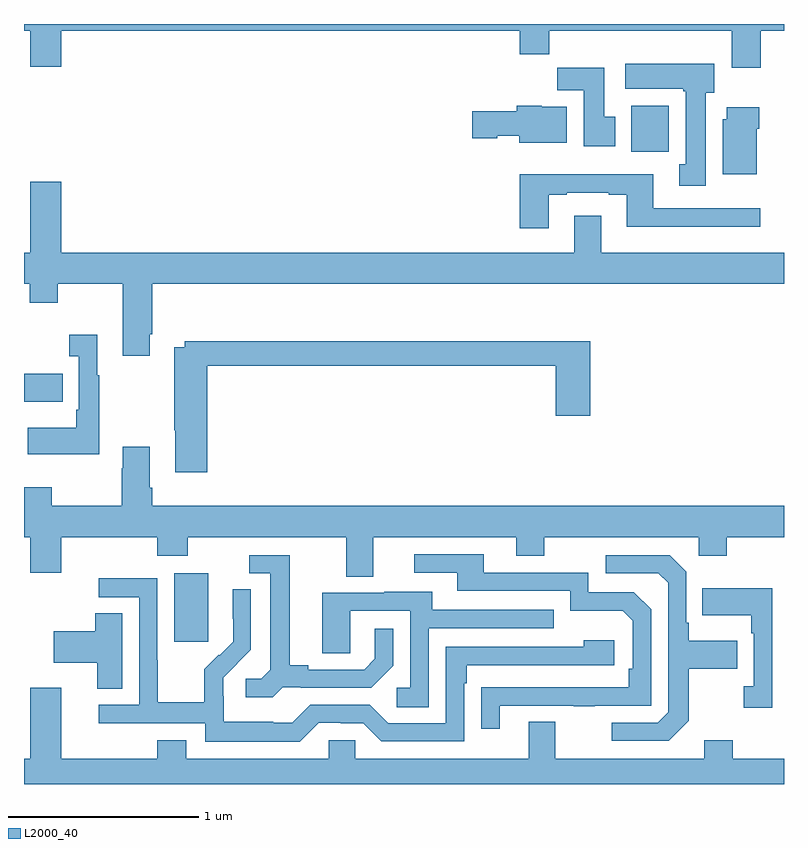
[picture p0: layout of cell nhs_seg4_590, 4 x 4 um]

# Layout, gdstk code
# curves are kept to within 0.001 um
import gdstk
lib = gdstk.Library(unit=1e-6, precision=1e-09)
def R(c, l, rs):  # rectangles x0, y0, x1, y1
    for r in rs: c.add(gdstk.rectangle(r[:2], r[2:], *l))
def P(c, l, *ps):  # polygons
    for p in ps: c.add(gdstk.Polygon(p, *l))
L2000_40 = (2000, 40)

nhs_seg4_590 = lib.new_cell('nhs_seg4_590')
R(nhs_seg4_590, L2000_40, [(141.791,749.649,141.97,750.01), (141,750.911,141.203,751.059), (144.197,752.228,144.394,752.47)])
P(nhs_seg4_590, L2000_40, [(144.878,752.864),(145,752.864),(145,752.9),(141,752.9),(141,752.864),(141.032,752.864),(141.032,752.676),(141.196,752.676),(141.196,752.864),(143.609,752.864),(143.609,752.74),(143.765,752.74),(143.765,752.864),(144.725,752.864),(144.725,752.67),(144.878,752.67)],
  [(144.589,752.538),(144.634,752.538),(144.634,752.692),(144.165,752.692),(144.165,752.558),(144.469,752.558),(144.469,752.545),(144.482,752.545),(144.482,752.162),(144.449,752.162),(144.449,752.049),(144.589,752.049)],
  [(144.112,752.412),(144.055,752.412),(144.055,752.671),(143.806,752.671),(143.806,752.552),(143.945,752.552),(143.945,752.256),(144.112,752.256)],
  [(143.857,752.464),(143.724,752.464),(143.724,752.47),(143.594,752.47),(143.594,752.442),(143.358,752.442),(143.358,752.3),(143.49,752.3),(143.49,752.312),(143.606,752.312),(143.606,752.276),(143.857,752.276)],
  [(144.856,752.348),(144.869,752.348),(144.869,752.461),(144.698,752.461),(144.698,752.4),(144.677,752.4),(144.677,752.108),(144.856,752.108)],
  [(143.761,752.001),(143.857,752.001),(143.857,752.013),(144.077,752.013),(144.077,752.001),(144.173,752.001),(144.173,751.832),(144.874,751.832),(144.874,751.929),(144.313,751.929),(144.313,752.11),(143.609,752.11),(143.609,751.824),(143.761,751.824)],
  [(141.661,751.267),(141.674,751.267),(141.674,751.532),(145,751.532),(145,751.696),(144.037,751.696),(144.037,751.891),(143.897,751.891),(143.897,751.696),(141.196,751.696),(141.196,752.071),(141.032,752.071),(141.032,751.696),(141,751.696),(141,751.532),(141.029,751.532),(141.029,751.433),(141.177,751.433),(141.177,751.532),(141.521,751.532),(141.521,751.155),(141.661,751.155)],
  [(141.397,751.051),(141.385,751.051),(141.385,751.264),(141.237,751.264),(141.237,751.151),(141.288,751.151),(141.288,750.871),(141.276,750.871),(141.276,750.775),(141.019,750.775),(141.019,750.635),(141.397,750.635)],
  [(141.965,751.102),(143.798,751.102),(143.798,750.837),(143.981,750.837),(143.981,751.231),(141.846,751.231),(141.846,751.198),(141.79,751.198),(141.79,750.763),(141.797,750.763),(141.797,750.54),(141.965,750.54)],
  [(141.674,750.46),(141.661,750.46),(141.661,750.676),(141.521,750.676),(141.521,750.563),(141.514,750.563),(141.514,750.364),(141.147,750.364),(141.147,750.463),(141,750.463),(141,750.2),(141.032,750.2),(141.032,750.012),(141.196,750.012),(141.196,750.2),(141.701,750.2),(141.701,750.101),(141.861,750.101),(141.861,750.2),(142.697,750.2),(142.697,749.992),(142.837,749.992),(142.837,750.2),(143.591,750.2),(143.591,750.101),(143.739,750.101),(143.739,750.2),(144.552,750.2),(144.552,750.101),(144.699,750.101),(144.699,750.2),(145,750.2),(145,750.364),(141.674,750.364)],
  [(143.503,749.313),(143.893,749.313),(143.893,749.308),(144.005,749.308),(144.005,749.313),(144.3,749.313),(144.3,749.82),(144.21,749.91),(143.97,749.91),(143.97,750.012),(143.419,750.012),(143.419,750.108),(143.055,750.108),(143.055,750.012),(143.279,750.012),(143.279,749.916),(143.874,749.916),(143.874,749.813),(144.151,749.813),(144.204,749.76),(144.204,749.506),(144.184,749.506),(144.184,749.409),(143.407,749.408),(143.407,749.19),(143.503,749.19)],
  [(144.499,749.233),(144.499,749.506),(144.755,749.506),(144.755,749.653),(144.499,749.653),(144.499,749.749),(144.486,749.749),(144.486,750.018),(144.399,750.105),(144.063,750.105),(144.063,750.009),(144.339,750.009),(144.39,749.958),(144.39,749.277),(144.336,749.223),(144.093,749.223),(144.093,749.127),(144.393,749.127)],
  [(142.362,749.409),(142.456,749.409),(142.456,749.406),(142.828,749.406),(142.944,749.522),(142.944,749.716),(142.847,749.716),(142.847,749.559),(142.79,749.502),(142.495,749.502),(142.495,749.525),(142.399,749.525),(142.399,750.105),(142.185,750.105),(142.185,750.009),(142.295,750.009),(142.295,749.501),(142.248,749.454),(142.167,749.454),(142.167,749.357),(142.31,749.357)],
  [(142.551,749.223),(142.667,749.223),(142.667,749.22),(142.785,749.22),(142.881,749.124),(143.316,749.124),(143.316,749.429),(143.329,749.429),(143.329,749.526),(144.106,749.526),(144.106,749.656),(143.945,749.656),(143.945,749.622),(143.22,749.622),(143.22,749.22),(142.917,749.22),(142.821,749.316),(142.506,749.316),(142.413,749.223),(142.313,749.223),(142.313,749.227),(142.05,749.227),(142.05,749.361),(142.048,749.361),(142.048,749.458),(142.194,749.606),(142.194,749.924),(142.098,749.924),(142.098,749.77),(142.1,749.77),(142.1,749.648),(142.029,749.577),(142.026,749.58),(141.949,749.503),(141.949,749.329),(141.705,749.329),(141.705,749.552),(141.702,749.552),(141.702,749.982),(141.393,749.982),(141.393,749.883),(141.606,749.883),(141.606,749.316),(141.393,749.316),(141.393,749.22),(141.954,749.22),(141.954,749.123),(142.451,749.123)],
  [(144.938,749.929),(144.571,749.929),(144.571,749.789),(144.828,749.789),(144.828,749.693),(144.84,749.693),(144.84,749.414),(144.789,749.414),(144.789,749.301),(144.938,749.301)],
  [(143.13,749.721),(143.789,749.721),(143.789,749.817),(143.149,749.817),(143.149,749.911),(142.895,749.911),(142.895,749.907),(142.571,749.907),(142.571,749.587),(142.716,749.587),(142.716,749.811),(143.034,749.811),(143.034,749.406),(142.962,749.406),(142.962,749.305),(143.13,749.305)],
  [(141.517,749.798),(141.374,749.798),(141.374,749.703),(141.156,749.703),(141.156,749.537),(141.386,749.537),(141.386,749.401),(141.517,749.401)],
  [(145,749.032),(144.729,749.032),(144.729,749.131),(144.581,749.131),(144.581,749.032),(143.797,749.032),(143.797,749.227),(143.657,749.227),(143.657,749.032),(142.743,749.032),(142.743,749.13),(142.605,749.13),(142.605,749.032),(141.853,749.032),(141.853,749.131),(141.701,749.131),(141.701,749.032),(141.196,749.032),(141.196,749.407),(141.032,749.407),(141.032,749.032),(141,749.032),(141,748.9),(145,748.9)])

lib.write_gds('nhs_seg4_590.gds')
